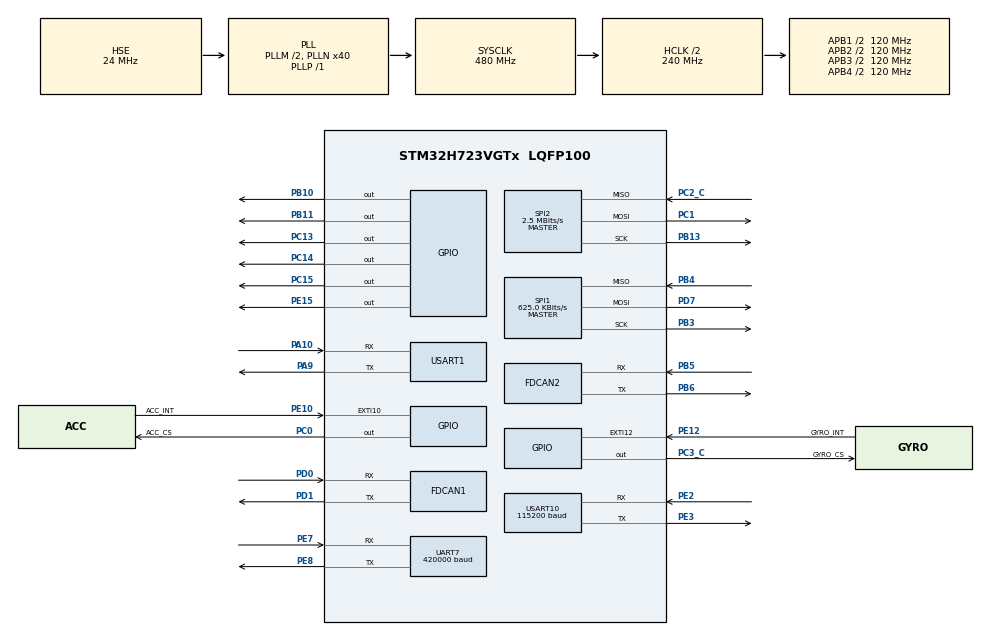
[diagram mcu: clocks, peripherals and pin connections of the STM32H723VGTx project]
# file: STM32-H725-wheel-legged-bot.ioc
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Dma.Request0=SPI2_RX
Dma.Request1=SPI2_TX
Dma.SPI2_RX.0.Direction=DMA_PERIPH_TO_MEMORY
Dma.SPI2_RX.0.EventEnable=DISABLE
Dma.SPI2_RX.0.FIFOMode=DMA_FIFOMODE_DISABLE
Dma.SPI2_RX.0.Instance=DMA1_Stream0
Dma.SPI2_RX.0.MemDataAlignment=DMA_MDATAALIGN_BYTE
Dma.SPI2_RX.0.MemInc=DMA_MINC_ENABLE
Dma.SPI2_RX.0.Mode=DMA_NORMAL
Dma.SPI2_RX.0.PeriphDataAlignment=DMA_PDATAALIGN_BYTE
Dma.SPI2_RX.0.PeriphInc=DMA_PINC_DISABLE
Dma.SPI2_RX.0.Polarity=HAL_DMAMUX_REQ_GEN_RISING
Dma.SPI2_RX.0.Priority=DMA_PRIORITY_VERY_HIGH
Dma.SPI2_RX.0.RequestNumber=1
Dma.SPI2_RX.0.SignalID=NONE
Dma.SPI2_RX.0.SyncEnable=DISABLE
Dma.SPI2_RX.0.SyncPolarity=HAL_DMAMUX_SYNC_NO_EVENT
Dma.SPI2_RX.0.SyncRequestNumber=1
Dma.SPI2_RX.0.SyncSignalID=NONE
Dma.SPI2_TX.1.Direction=DMA_MEMORY_TO_PERIPH
Dma.SPI2_TX.1.EventEnable=DISABLE
Dma.SPI2_TX.1.FIFOMode=DMA_FIFOMODE_DISABLE
Dma.SPI2_TX.1.Instance=DMA1_Stream1
Dma.SPI2_TX.1.MemDataAlignment=DMA_MDATAALIGN_BYTE
Dma.SPI2_TX.1.MemInc=DMA_MINC_ENABLE
Dma.SPI2_TX.1.Mode=DMA_NORMAL
Dma.SPI2_TX.1.PeriphDataAlignment=DMA_PDATAALIGN_BYTE
Dma.SPI2_TX.1.PeriphInc=DMA_PINC_DISABLE
Dma.SPI2_TX.1.Polarity=HAL_DMAMUX_REQ_GEN_RISING
Dma.SPI2_TX.1.Priority=DMA_PRIORITY_HIGH
Dma.SPI2_TX.1.RequestNumber=1
Dma.SPI2_TX.1.SignalID=NONE
Dma.SPI2_TX.1.SyncEnable=DISABLE
Dma.SPI2_TX.1.SyncPolarity=HAL_DMAMUX_SYNC_NO_EVENT
Dma.SPI2_TX.1.SyncRequestNumber=1
Dma.SPI2_TX.1.SyncSignalID=NONE
FDCAN1.AutoRetransmission=ENABLE
FDCAN1.CalculateBaudRateNominal=1000000
FDCAN1.CalculateTimeBitNominal=1000
FDCAN1.CalculateTimeQuantumNominal=12.5
FDCAN1.DataSyncJumpWidth=2
FDCAN1.DataTimeSeg1=13
FDCAN1.DataTimeSeg2=2
FDCAN1.ExtFiltersNbr=4
FDCAN1.Mode=FDCAN_MODE_NORMAL
FDCAN1.NominalPrescaler=1
FDCAN1.NominalSyncJumpWidth=20
FDCAN1.NominalTimeSeg1=59
FDCAN1.NominalTimeSeg2=20
FDCAN1.ProtocolException=ENABLE
FDCAN1.RxBuffersNbr=2
FDCAN1.RxFifo0ElmtsNbr=8
FDCAN1.RxFifo1ElmtsNbr=8
FDCAN1.StdFiltersNbr=4
FDCAN1.TxBuffersNbr=8
FDCAN1.TxEventsNbr=8
FDCAN1.TxFifoQueueElmtsNbr=8
FDCAN2.AutoRetransmission=ENABLE
FDCAN2.CalculateBaudRateNominal=1000000
FDCAN2.CalculateTimeBitNominal=1000
FDCAN2.CalculateTimeQuantumNominal=12.5
FDCAN2.DataSyncJumpWidth=2
FDCAN2.DataTimeSeg1=13
FDCAN2.DataTimeSeg2=2
FDCAN2.ExtFiltersNbr=4
FDCAN2.NominalPrescaler=1
FDCAN2.NominalSyncJumpWidth=20
FDCAN2.NominalTimeSeg1=59
FDCAN2.NominalTimeSeg2=20
FDCAN2.ProtocolException=ENABLE
FDCAN2.RxBuffersNbr=2
FDCAN2.RxFifo0ElmtsNbr=8
FDCAN2.RxFifo1ElmtsNbr=8
FDCAN2.StdFiltersNbr=4
FDCAN2.TxBuffersNbr=8
FDCAN2.TxEventsNbr=8
FDCAN2.TxFifoQueueElmtsNbr=8
Mcu.Family=STM32H7
Mcu.Name=STM32H723VGTx
Mcu.Package=LQFP100
NVIC.DMA1_Stream0_IRQn=true\:1\:0\:true\:false\:true\:false\:true\:true
NVIC.DMA1_Stream1_IRQn=true\:2\:0\:true\:false\:true\:false\:true\:true
NVIC.FDCAN1_IT0_IRQn=true\:0\:0\:false\:false\:true\:true\:true\:true
NVIC.FDCAN1_IT1_IRQn=true\:0\:0\:false\:false\:true\:true\:true\:true
NVIC.PriorityGroup=NVIC_PRIORITYGROUP_4
NVIC.SPI2_IRQn=true\:5\:0\:true\:false\:true\:false\:true\:true
NVIC.TIM2_IRQn=true\:0\:0\:false\:false\:true\:true\:true\:true
NVIC.UART7_IRQn=true\:0\:0\:false\:false\:true\:true\:true\:true
NVIC.USART10_IRQn=true\:0\:0\:false\:false\:true\:true\:true\:true
PA10.Mode=Asynchronous
PA10.Signal=USART1_RX
PA13(JTMS/SWDIO).Mode=Serial_Wire
PA13(JTMS/SWDIO).Signal=DEBUG_JTMS-SWDIO
PA14(JTCK/SWCLK).Mode=Serial_Wire
PA14(JTCK/SWCLK).Signal=DEBUG_JTCK-SWCLK
PA9.Mode=Asynchronous
PA9.Signal=USART1_TX
PB10.GPIO_Speed=GPIO_SPEED_FREQ_VERY_HIGH
PB10.PinState=GPIO_PIN_SET
PB10.Signal=GPIO_Output
PB11.GPIO_Speed=GPIO_SPEED_FREQ_VERY_HIGH
PB11.PinState=GPIO_PIN_SET
PB11.Signal=GPIO_Output
PB13.GPIO_Speed=GPIO_SPEED_FREQ_VERY_HIGH
PB13.Mode=Full_Duplex_Master
PB13.Signal=SPI2_SCK
PB3(JTDO/TRACESWO).GPIO_Speed=GPIO_SPEED_FREQ_VERY_HIGH
PB3(JTDO/TRACESWO).Mode=Full_Duplex_Master
PB3(JTDO/TRACESWO).Signal=SPI1_SCK
PB4(NJTRST).GPIO_Speed=GPIO_SPEED_FREQ_VERY_HIGH
PB4(NJTRST).Mode=Full_Duplex_Master
PB4(NJTRST).Signal=SPI1_MISO
PB5.Mode=FDCAN_Activate
PB5.Signal=FDCAN2_RX
PB6.Mode=FDCAN_Activate
PB6.Signal=FDCAN2_TX
PC0.GPIO_Label=ACC_CS
PC0.GPIO_Speed=GPIO_SPEED_FREQ_VERY_HIGH
PC0.PinState=GPIO_PIN_SET
PC0.Signal=GPIO_Output
PC1.GPIO_Speed=GPIO_SPEED_FREQ_VERY_HIGH
PC1.Mode=Full_Duplex_Master
PC1.Signal=SPI2_MOSI
PC13.Signal=GPIO_Output
PC14-OSC32_IN.Signal=GPIO_Output
PC15-OSC32_OUT.Signal=GPIO_Output
PC2_C.GPIO_Speed=GPIO_SPEED_FREQ_VERY_HIGH
PC2_C.Mode=Full_Duplex_Master
PC2_C.Signal=SPI2_MISO
PC3_C.GPIO_Label=GYRO_CS
PC3_C.GPIO_Speed=GPIO_SPEED_FREQ_VERY_HIGH
PC3_C.PinState=GPIO_PIN_SET
PC3_C.Signal=GPIO_Output
PD0.Mode=FDCAN_Activate
PD0.Signal=FDCAN1_RX
PD1.Mode=FDCAN_Activate
PD1.Signal=FDCAN1_TX
PD7.GPIO_Speed=GPIO_SPEED_FREQ_VERY_HIGH
PD7.Mode=Full_Duplex_Master
PD7.Signal=SPI1_MOSI
PE10.GPIO_Label=ACC_INT
PE10.Signal=GPXTI10
PE12.GPIO_Label=GYRO_INT
PE12.Signal=GPXTI12
PE15.GPIO_Speed=GPIO_SPEED_FREQ_VERY_HIGH
PE15.PinState=GPIO_PIN_SET
PE15.Signal=GPIO_Output
PE2.Mode=Asynchronous
PE2.Signal=USART10_RX
PE3.Mode=Asynchronous
PE3.Signal=USART10_TX
PE7.Mode=Asynchronous
PE7.Signal=UART7_RX
PE8.Mode=Asynchronous
PE8.Signal=UART7_TX
PH0-OSC_IN.Mode=HSE-External-Oscillator
PH0-OSC_IN.Signal=RCC_OSC_IN
PH1-OSC_OUT.Mode=HSE-External-Oscillator
PH1-OSC_OUT.Signal=RCC_OSC_OUT
ProjectManager.HeapSize=0x200
ProjectManager.StackSize=0x800
ProjectManager.TargetToolchain=STM32CubeIDE
RCC.ADCFreq_Value=48375000
RCC.APB1Freq_Value=120000000
RCC.APB2Freq_Value=120000000
RCC.APB3Freq_Value=120000000
RCC.APB4Freq_Value=120000000
RCC.CortexFreq_Value=480000000
RCC.D1PPRE=RCC_APB3_DIV2
RCC.D2PPRE1=RCC_APB1_DIV2
RCC.D2PPRE2=RCC_APB2_DIV2
RCC.D3PPRE=RCC_APB4_DIV2
RCC.DIVM1=2
RCC.DIVN1=40
RCC.DIVP1=1
RCC.DIVQ1=6
RCC.HCLKFreq_Value=240000000
RCC.HPRE=RCC_HCLK_DIV2
RCC.HSE_VALUE=24000000
RCC.PLL2FRACN=0
RCC.PLL3FRACN=0
RCC.PLLFRACN=0
RCC.PLLSourceVirtual=RCC_PLLSOURCE_HSE
RCC.SYSCLKFreq_VALUE=480000000
RCC.SYSCLKSource=RCC_SYSCLKSOURCE_PLLCLK
RCC.USBFreq_Value=80000000
SPI1.BaudRatePrescaler=SPI_BAUDRATEPRESCALER_128
SPI1.CLKPhase=SPI_PHASE_2EDGE
SPI1.CalculateBaudRate=625.0 KBits/s
SPI1.DataSize=SPI_DATASIZE_8BIT
SPI1.Direction=SPI_DIRECTION_2LINES
SPI1.Mode=SPI_MODE_MASTER
SPI1.VirtualType=VM_MASTER
SPI2.BaudRatePrescaler=SPI_BAUDRATEPRESCALER_32
SPI2.CLKPhase=SPI_PHASE_2EDGE
SPI2.CLKPolarity=SPI_POLARITY_HIGH
SPI2.CalculateBaudRate=2.5 MBits/s
SPI2.DataSize=SPI_DATASIZE_8BIT
SPI2.Direction=SPI_DIRECTION_2LINES
SPI2.Mode=SPI_MODE_MASTER
SPI2.VirtualType=VM_MASTER
TIM2.Period=999
TIM2.Prescaler=239
UART7.BaudRate=420000
USART1.VirtualMode-Asynchronous=VM_ASYNC
USART10.BaudRate=115200
USART10.VirtualMode=VM_ASYNC
VP_MEMORYMAP_VS_MEMORYMAP.Mode=CurAppReg
VP_TIM2_VS_ClockSourceINT.Mode=Internal
board=custom

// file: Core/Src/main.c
/* USER CODE BEGIN Header */
/**
  ******************************************************************************
  * @file           : main.c
  * @brief          : Main program body
  ******************************************************************************
  * @attention
  *
  * Copyright (c) 2025 STMicroelectronics.
  * All rights reserved.
  *
  * This software is licensed under terms that can be found in the LICENSE file
  * in the root directory of this software component.
  * If no LICENSE file comes with this software, it is provided AS-IS.
  *
  ******************************************************************************
  */
/* USER CODE END Header */
#include "main.h"
#include "dma.h"
#include "fdcan.h"
#include "spi.h"
#include "tim.h"
#include "usart.h"
#include "gpio.h"

/* USER CODE BEGIN Includes */
#include "BMI088Middleware.h"  /* IMU middleware helper */
#include "BMI088driver.h"      /* IMU driver */

#include <string.h>
#include <stdio.h>
#include "bsp_fdcan.h"         /* FD-CAN helper */
#include <math.h>

#include "as5047p.h"           /* AS5047P encoder driver */
#include "odrive_can.h"        /* O-Drive CAN communication helper */
#include "joint_mit.h"         /* MIT CAN protocol control */
#include "joint_hw.h"          /* Joint-level hardware control */
#include "leg_kin.h"           /* Leg kinematics */
#include "crsf8.h"             /* CRSF RC receiver protocol */
/* USER CODE END Includes */

/* USER CODE BEGIN PD */

/* Main loop: 1kHz update with 10Hz debug output */
#define PRINT_DIV               100   /* 1kHz / 100 = 10Hz print rate */
#define JOINT_COUNT             3     /* Three joints: hip_pitch, knee_pitch, hip_roll */
/* USER CODE END PD */

/* USER CODE BEGIN PM */
#define UNUSED(x) ((void)(x))
/* USER CODE END PM */

/* USER CODE BEGIN PV */
volatile uint32_t g_tick_1khz = 0;
volatile uint8_t  g_tick_flag = 0;
static char uart_buf[160];

static Joint g_joint[JOINT_COUNT];

static const JointConfig g_cfg[JOINT_COUNT] = {
    /* Joint 0: Hip pitch */
    {
        .hspi=&hspi1, .cs_port=GPIOE, .cs_pin=GPIO_PIN_15,  /* Second encoder CS pin */
        .hcan=&hfdcan1, .node_id=2,                         /* O-Drive CAN node ID */
        .raw_min=3000, .raw_max=10000, .gear_ratio=1.0f,    /* Encoder range and gear ratio */
        .home_raw_abs=6100,                                 /* Home position */
        .kp=0.45f, .kd=0.025f, .tau_max=0.8f,               /* MIT control gains and max torque */
        .q_db=0.015f, .q_hold_band=0.020f, .qd_alpha=0.05f, .tau_rate_limit=10.0f,
        .torque_sign = -1,
        .ik_sign = -1
    },
    /* Joint 1: Knee pitch */
    {
        .hspi=&hspi1, .cs_port=GPIOB, .cs_pin=GPIO_PIN_10,
        .hcan=&hfdcan1, .node_id=6,
        .raw_min=5000, .raw_max=11700, .gear_ratio=1.0f,
        .home_raw_abs=11500,
        .kp=0.55f, .kd=0.03f, .tau_max=1.5f,
        .q_db=0.015f, .q_hold_band=0.020f, .qd_alpha=0.05f, .tau_rate_limit=10.0f,
        .torque_sign = -1,
        .ik_sign = -1
    },
    /* Joint 2: Hip roll */
    {
        .hspi=&hspi1, .cs_port=GPIOB, .cs_pin=GPIO_PIN_11,
        .hcan=&hfdcan1, .node_id=1,
        .raw_min=2500, .raw_max=4000, .gear_ratio=1.0f,
        .home_raw_abs=2300,
        .kp=0.45f, .kd=0.025f, .tau_max=0.8f,
        .q_db=0.015f, .q_hold_band=0.020f, .qd_alpha=0.05f, .tau_rate_limit=10.0f,
		.torque_sign = -1,
		.ik_sign = 1
    }
};

/* Forward kinematics: leg link lengths */
static const LegGeom g_leg = { .l1 = 0.20f, .l2 = 0.20f };

/* RC receiver (CRSF protocol) */
static Crsf8 g_crsf;

/* IMU state: roll angle and rate */
typedef struct {
    float roll;        /* Roll angle (radians) */
    float roll_rate;   /* Roll rate from gyroscope (rad/s) */
    uint8_t ok;        /* Valid data flag */
} ImuState;

static ImuState g_imu = {0};
static ODriveCan g_wheel = {0};  /* Hub motor O-Drive (CAN node ID 3) */

/* USER CODE END PV */

void SystemClock_Config(void);

/* USER CODE BEGIN 0 */

/* Utility: Clamp value to range [lo, hi] */
static inline float clampf(float x, float lo, float hi)
{
    if (x < lo) return lo;
    if (x > hi) return hi;
    return x;
}

/* Utility: Map value from input range to output range */
static inline float mapf(float x, float in_min, float in_max, float out_min, float out_max)
{
    float denom = (in_max - in_min);
    if (fabsf(denom) < 1e-6f) return out_min;

    float t = (x - in_min) / denom;
    t = clampf(t, 0.0f, 1.0f);
    return out_min + t * (out_max - out_min);
}

/* Inverse kinematics command for leg */
typedef struct {
    float x;      /* Forward/backward position (m), currently fixed at 0 */
    float z;      /* Leg height (m), controlled by RC CH3 */
    float roll;   /* Hip roll target (rad), controlled by RC CH1 */
} LegCmd;

/* Update leg command from RC receiver with low-pass filtering */
static void rc_update_cmd(LegCmd *cmd, const Crsf8 *crsf)
{
    /* RC CH3 -> leg height (m), range: -0.30 to -0.10 */
    uint16_t ch3 = crsf->ch8[2];
    static float z_f = -0.20f;
    float z_t = mapf((float)ch3, 180.0f, 1800.0f, -0.30f, -0.10f);
    z_f += 0.02f * (z_t - z_f);
    cmd->z = z_f;

    /* RC CH1 -> hip roll (±15 degrees with low-pass filter) */
    uint16_t ch1 = crsf->ch8[0];
    static float r_f = 0.0f;
    float r_t = mapf((float)ch1, 180.0f, 1800.0f,
                     -15.0f*(float)M_PI/180.0f,
                      15.0f*(float)M_PI/180.0f);
    r_f += 0.02f * (r_t - r_f);
    cmd->roll = r_f;

    cmd->x = 0.0f;  /* Forward/backward position fixed at 0 */
}
/* Solve inverse kinematics: Convert leg command to joint targets
 * Uses roll-led approach to maintain vertical height when rolling */
static int leg_solve_targets(const LegCmd *cmd, const LegGeom *g,
                             float *qr, float *qh, float *qk,
                             float *z_p_out)
{
    /* Protect against singular configuration when cosine is too small */
    float c = cosf(cmd->roll);
    if (fabsf(c) < 0.2f) c = (c > 0) ? 0.2f : -0.2f;

    /* Key: Adjust projected height to maintain vertical height as roll changes */
    float z_p = cmd->z / c;
    int ok = leg_ik_2d(cmd->x, z_p, g, qh, qk);
    if (ok != 0) return ok;

    *qr = cmd->roll;
    if (z_p_out) *z_p_out = z_p;
    return 0;
}
/* Apply smoothed joint targets with low-pass filter */
static void joints_apply_targets(float qr, float qh, float qk)
{
    const float a = 0.02f;  /* Low-pass filter coefficient */

    /* Apply sign correction based on IK configuration */
    float qh_m = (float)g_cfg[0].ik_sign * qh;
    float qk_m = (float)g_cfg[1].ik_sign * qk;
    float qr_m = (float)g_cfg[2].ik_sign * qr;

    /* Exponential smoothing of targets */
    g_joint[0].q_target += a * (qh_m - g_joint[0].q_target);
    g_joint[1].q_target += a * (qk_m - g_joint[1].q_target);
    g_joint[2].q_target += a * (qr_m - g_joint[2].q_target);
}

// ===== IMU state =====

/* Wrap angle to [-π, π] range */
static inline float wrap_pi(float a)
{
    while(a >  (float)M_PI) a -= 2.0f*(float)M_PI;
    while(a < -(float)M_PI) a += 2.0f*(float)M_PI;
    return a;
}

/* 1kHz IMU update using complementary filter for roll angle estimation */
static int imu_update_1khz(ImuState *s, float dt)
{
    float gyro[3], accel[3], temp;

    /* Read raw IMU data from BMI088 sensor */
    BMI088_read(gyro, accel, &temp);

    /* Driver output units:
     * - gyro[] in rad/s (BMI088 gyro sensitivity ~0.001065 rad/s per LSB at ±2000dps)
     * - accel[] in g (gravity units) */
    float ax = accel[0];
    float ay = accel[1];
    float az = accel[2];

    /* Gyroscope rate for X-axis rotation (roll rate) */
    float roll_rate = gyro[0];

    /* Estimate roll angle from gravity vector in accelerometer readings */
    float roll_acc = atan2f(ay, -az);

    /* Complementary filter: Fuse gyro integration and accelerometer estimate
     * Alpha ~0.99-0.999 for 1kHz sampling */
    const float alpha = 0.995f;
    float roll_pred = s->roll + roll_rate * dt;
    s->roll = wrap_pi(alpha * roll_pred + (1.0f - alpha) * roll_acc);

    s->roll_rate = roll_rate;
    s->ok = 1;
    return 0;
}

/* ===== Wheel Balance Control (PD) ===== */

/* Compute wheel torque command for balance using IMU feedback
 * Applies PD control: proportional to roll angle, derivative to roll rate */
static float wheel_tau_from_imu(const ImuState *imu)
{
    if (!imu->ok) return 0.0f;

    /* PD gains (tuning range: kp=0.2~1.5, kd=0.01~0.10) */
    const float kp = 0.6f;
    const float kd = 0.03f;

    /* PD control law: negative feedback stabilizes roll */
    float tau = -(kp * imu->roll + kd * imu->roll_rate);

    /* Limit output torque (typically 0.1~0.3 Nm for wheel motor) */
    const float tau_max = 0.25f;
    if (tau >  tau_max) tau =  tau_max;
    if (tau < -tau_max) tau = -tau_max;
    return tau;
}

/* USER CODE END 0 */

int main(void)
{

  /* MCU Configuration--------------------------------------------------------*/

  /* Reset of all peripherals, Initializes the Flash interface and the Systick. */
  HAL_Init();

  /* Configure the system clock */
  SystemClock_Config();

  /* Initialize all configured peripherals */
  MX_GPIO_Init();
  MX_DMA_Init();
  MX_SPI2_Init();
  MX_USART1_UART_Init();
  MX_TIM2_Init();
  MX_FDCAN1_Init();
  MX_FDCAN2_Init();
  MX_USART10_UART_Init();
  MX_SPI1_Init();
  MX_UART7_Init();
  /* USER CODE BEGIN 2 */

  /* 1. Enable power supplies (GPIO control) */
  HAL_GPIO_WritePin(GPIOC, GPIO_PIN_14, GPIO_PIN_SET);
  HAL_GPIO_WritePin(GPIOC, GPIO_PIN_13, GPIO_PIN_SET);
  HAL_GPIO_WritePin(GPIOC, GPIO_PIN_15, GPIO_PIN_SET);
  HAL_Delay(50);

  /* 2. Initialize CAN bus and IMU */
  bsp_can_init();
  HAL_Delay(200);
  uint8_t imu_err = BMI088_init();
  UNUSED(imu_err);

  /* 3. Initialize all leg joints */
  for (int i = 0; i < JOINT_COUNT; i++) {
    joint_init(&g_joint[i], &g_cfg[i]);
  }

  /* 4. Enable torque control on all O-Drive motors */
  for (int i = 0; i < JOINT_COUNT; i++) {
    joint_odrive_enable_torque_mode(&g_joint[i]);
  }

  /* 5. Zero joint encoders to home positions */
  for (int i = 0; i < JOINT_COUNT; i++) {
      (void)joint_zero_to_home(&g_joint[i]);
  }

  /* 6. Initialize wheel O-Drive motor (CAN node 3) */
  g_wheel.hcan = &hfdcan1;
  g_wheel.node_id = 3;

  odrive_can_clear_errors(&g_wheel);
  HAL_Delay(10);

  /* Set O-Drive to torque control mode with passthrough */
  odrive_can_set_controller_mode(&g_wheel, 1, 1);
  HAL_Delay(10);

  /* Enable closed-loop control state */
  odrive_can_set_axis_state(&g_wheel, 8);
  HAL_Delay(10);

  /* 7. Start 1kHz main loop timer */
  HAL_TIM_Base_Start_IT(&htim2);

  /* 8. Initialize RC receiver and debug UART */
  crsf8_init(&g_crsf, &huart7);
  crsf8_start_rx_it(&g_crsf);
  HAL_UART_Transmit(&huart1, (uint8_t*)"\r\n[CRSF] Start\r\n", 16, 100);

  /* USER CODE END 2 */

  /* Infinite loop */
  /* USER CODE BEGIN WHILE */
  uint32_t last_tick = 0;
  uint32_t print_ctr = 0;

  while (1)
  {
      if (!g_tick_flag) continue;
      g_tick_flag = 0;

      if (g_tick_1khz == last_tick) continue;
      last_tick = g_tick_1khz;

      /* 1kHz: Update all leg joint states */
      for (int i = 0; i < JOINT_COUNT; i++) {
          joint_update_1khz(&g_joint[i]);
      }

      /* 1kHz: Update IMU and apply wheel balance control */
      imu_update_1khz(&g_imu, 0.001f);
      float tau = wheel_tau_from_imu(&g_imu);
      odrive_can_set_input_torque(&g_wheel, tau);

      /* 1kHz: Process RC input -> Compute trajectory -> Solve IK -> Update joint targets */
      static LegCmd cmd;
      static float z_p_dbg = 0.0f;
      static float qr=0, qh=0, qk=0;
      static int ok = 0;

      rc_update_cmd(&cmd, &g_crsf);
      ok = leg_solve_targets(&cmd, &g_leg, &qr, &qh, &qk, &z_p_dbg);
      if (ok == 0) joints_apply_targets(qr, qh, qk);

      /* 10Hz: Debug output to UART (1000ms / 100 = 10Hz) */
      if (++print_ctr >= PRINT_DIV) {
          print_ctr = 0;

          float tau_dbg = wheel_tau_from_imu(&g_imu);
          float roll_deg = g_imu.roll * 57.2957795f;   /* Convert radians to degrees */
          float rate_deg = g_imu.roll_rate * 57.2957795f;

          int n = snprintf(uart_buf, sizeof(uart_buf),
              "[IMU] roll=%.2f deg rate=%.2f deg/s | tau=%.3f Nm\r\n",
              (double)roll_deg, (double)rate_deg, (double)tau_dbg);

          HAL_UART_Transmit(&huart1, (uint8_t*)uart_buf, (uint16_t)n, 100);
      }

  }
    /* USER CODE END WHILE */

}

void SystemClock_Config(void)
{
  RCC_OscInitTypeDef RCC_OscInitStruct = {0};
  RCC_ClkInitTypeDef RCC_ClkInitStruct = {0};

  /** Supply configuration update enable
  */
  HAL_PWREx_ConfigSupply(PWR_LDO_SUPPLY);

  /** Configure the main internal regulator output voltage
  */
  __HAL_PWR_VOLTAGESCALING_CONFIG(PWR_REGULATOR_VOLTAGE_SCALE0);

  while(!__HAL_PWR_GET_FLAG(PWR_FLAG_VOSRDY)) {}

  /** Initializes the RCC Oscillators according to the specified parameters
  * in the RCC_OscInitTypeDef structure.
  */
  RCC_OscInitStruct.OscillatorType = RCC_OSCILLATORTYPE_HSE;
  RCC_OscInitStruct.HSEState = RCC_HSE_ON;
  RCC_OscInitStruct.PLL.PLLState = RCC_PLL_ON;
  RCC_OscInitStruct.PLL.PLLSource = RCC_PLLSOURCE_HSE;
  RCC_OscInitStruct.PLL.PLLM = 2;
  RCC_OscInitStruct.PLL.PLLN = 40;
  RCC_OscInitStruct.PLL.PLLP = 1;
  RCC_OscInitStruct.PLL.PLLQ = 6;
  RCC_OscInitStruct.PLL.PLLR = 2;
  RCC_OscInitStruct.PLL.PLLRGE = RCC_PLL1VCIRANGE_3;
  RCC_OscInitStruct.PLL.PLLVCOSEL = RCC_PLL1VCOWIDE;
  RCC_OscInitStruct.PLL.PLLFRACN = 0;
  if (HAL_RCC_OscConfig(&RCC_OscInitStruct) != HAL_OK)
  {
    Error_Handler();
  }

  /** Initializes the CPU, AHB and APB buses clocks
  */
  RCC_ClkInitStruct.ClockType = RCC_CLOCKTYPE_HCLK|RCC_CLOCKTYPE_SYSCLK
                              |RCC_CLOCKTYPE_PCLK1|RCC_CLOCKTYPE_PCLK2
                              |RCC_CLOCKTYPE_D3PCLK1|RCC_CLOCKTYPE_D1PCLK1;
  RCC_ClkInitStruct.SYSCLKSource = RCC_SYSCLKSOURCE_PLLCLK;
  RCC_ClkInitStruct.SYSCLKDivider = RCC_SYSCLK_DIV1;
  RCC_ClkInitStruct.AHBCLKDivider = RCC_HCLK_DIV2;
  RCC_ClkInitStruct.APB3CLKDivider = RCC_APB3_DIV2;
  RCC_ClkInitStruct.APB1CLKDivider = RCC_APB1_DIV2;
  RCC_ClkInitStruct.APB2CLKDivider = RCC_APB2_DIV2;
  RCC_ClkInitStruct.APB4CLKDivider = RCC_APB4_DIV2;

  if (HAL_RCC_ClockConfig(&RCC_ClkInitStruct, FLASH_LATENCY_3) != HAL_OK)
  {
    Error_Handler();
  }
}

/* USER CODE BEGIN 4 */

/* Timer interrupt callback: Triggers main control loop at 1kHz */
void HAL_TIM_PeriodElapsedCallback(TIM_HandleTypeDef *htim)
{
  if (htim->Instance == TIM2) {
    g_tick_1khz++;
    g_tick_flag = 1;  /* Signal main loop to execute */
  }
}

/* UART receive complete callback: Process incoming RC data byte-by-byte */
void HAL_UART_RxCpltCallback(UART_HandleTypeDef *huart)
{
    if (huart == &huart7) {
        crsf8_on_rx_byte(&g_crsf, g_crsf.rx_byte);
        /* Restart reception in interrupt mode for next byte */
        HAL_UART_Receive_IT(&huart7, &g_crsf.rx_byte, 1);
    }
}

/* UART error callback: Handle communication errors gracefully */
void HAL_UART_ErrorCallback(UART_HandleTypeDef *huart)
{
    if (huart == &huart7) {
        crsf8_on_uart_error(&g_crsf);
    }
}

/* USER CODE END 4 */

void Error_Handler(void)
{
  __disable_irq();
  while (1)
  {
  }
}
